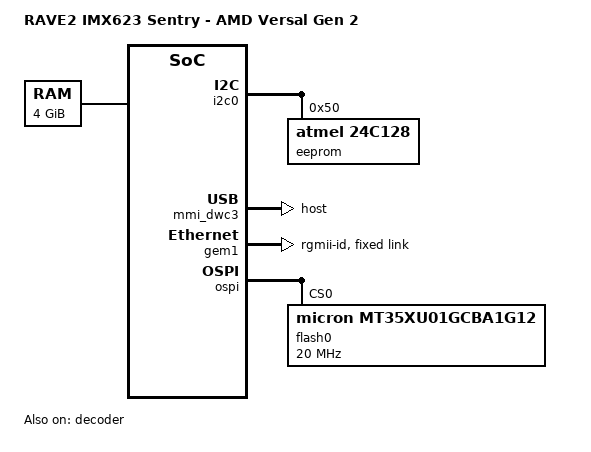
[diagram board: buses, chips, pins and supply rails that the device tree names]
// Copyright © Advanced Micro Devices, Inc., or its affiliates. All rights reserved.
// Copyright (C) 2015-2024 Texas Instruments Incorporated - https://www.ti.com/
// Modifications Copyright(C) 2026 Advanced Micro Devices, Inc. All rights reserved.
// SPDX-License-Identifier: MIT AND BSD-2-Clause
// Contributors: LT
// Maintainer: LT
// DP83867 constants copied from Linux include/dt-bindings/net/ti-dp83867.h
// (GPL-2.0-only OR MIT); MIT selected. GPIO_ACTIVE_LOW copied from
// include/dt-bindings/gpio/gpio.h (GPL-2.0 OR BSD-2-Clause); BSD-2-Clause selected.
#define DP83867_RGMIIDCTL_250_PS        0x0
#define DP83867_RGMIIDCTL_500_PS        0x1
#define DP83867_RGMIIDCTL_750_PS        0x2
#define DP83867_RGMIIDCTL_1_NS          0x3
#define DP83867_RGMIIDCTL_1_25_NS       0x4
#define DP83867_RGMIIDCTL_1_50_NS       0x5
#define DP83867_RGMIIDCTL_1_75_NS       0x6
#define DP83867_RGMIIDCTL_2_00_NS       0x7
#define DP83867_RGMIIDCTL_2_25_NS       0x8
#define DP83867_RGMIIDCTL_2_50_NS       0x9
#define DP83867_RGMIIDCTL_2_75_NS       0xa
#define DP83867_RGMIIDCTL_3_00_NS       0xb
#define DP83867_RGMIIDCTL_3_25_NS       0xc
#define DP83867_RGMIIDCTL_3_50_NS       0xd
#define DP83867_RGMIIDCTL_3_75_NS       0xe
#define DP83867_RGMIIDCTL_4_00_NS       0xf

#define   DP83867_PHYCR_FIFO_DEPTH_4_B_NIB  0x01
#define   GPIO_ACTIVE_LOW 1



/ {
        model = "RAVE2 IMX623 Sentry - AMD Versal Gen 2";
		compatible = "amd,versal2";
		chosen {
			stdout-path = "serial0:115200n8";
			/* irqaffinity keeps GIC SPI 206/207 off Linux: the R52 AIE-manager
			 * firmware registers them as its AIE NPI error/user interrupts
			 * (CONFIG_AIE2PS_NPI_IRQ_ENABLE=y). Verified on HW 2026-08-28:
			 * "AIE2PS GIC NPI IRQs registered: SPI 206 (err), SPI 207 (usr)". */
			/*
			 * CMA SIZING RULE -- the default CMA area is carved out of LOW DDR by the
			 * `cma=` value below (this board cannot use linux,cma-default: the DT pool
			 * must stay at 0x800000000 for ald3xx.fw, and setting both makes
			 * rmem_cma_setup() bypass the DT node -> ZERO CMA).
			 *
			 * So cma= must fit the largest remaining contiguous low-DDR hole.  Add a
			 * big low-DDR no-map carveout and you MUST shrink cma= to match, else:
			 *     cma: Failed to reserve N MiB
			 *     [drm] Failed to initialize the cma mem reserved nodes
			 *     modetest: failed to create dumb buffer: Cannot allocate memory
			 *
			 * rave2-imx623 hit exactly this: aie_remap_shadow@40000000 (256 MB) took
			 * the hole the comment below calls "~0x40000000", leaving 128 MB as the
			 * largest, so cma= dropped 256M -> 96M there.  1920x1080 XR24 dumb buffers
			 * are 8 MB each, so 96 MB is ample.
			 * Check free holes with `lmb_dump_all` (U-Boot `bdinfo`) after any change.
			 */
			bootargs = "earlycon=pl011,mmio32,0xf1920000 console=ttyAMA0,115200 cma=96M iomem=relaxed irqaffinity=0-205,208-255";
			xen_bootargs = "console=dtuart dtuart=serial0 dom0_mem=2500M dom0_max_vcpus=1 bootscrub=0 vwfi=native";
			dom0_bootargs = "console=hvc0 earlycon=xen earlyprintk=xen clk_ignore_unused cma=96M";
		};
		/*
		* Device tree reserved-memory fragment for ERICA-E face motion system.
		*
		* Memory layout (both RAVE2 and VEK385):
		*
		*   0x50000000 - 0x5007FFFF  (512 KB)   R52 firmware code/data
		*   0x50100000 - 0x6FCFFFFF  (508 MB)   Visualization capture circular buffers
		*     CH0: 0x50100000 - 0x57FFFFFF      (127 MB, 96 frames x 1.32 MB NV12)
		*     CH1: 0x58000000 - 0x5FEFFFFF      (127 MB)
		*     CH2: 0x5FF00000 - 0x67DFFFFF      (127 MB)
		*     CH3: 0x67E00000 - 0x6FCFFFFF      (127 MB)
		*   0x70000000 - 0x700FFFFF  (1 MB)     sentry_shared: A78 <-> R52 headers
		*     ISP flag:      0x70000000         (one word; the rest of the 64 KB is free)
		*     Wake rings:    0x70010000         (64 KB, R52 Ethernet wake channel)
		*     Settings:      0x70020000         (sentry_cfg, VCTL, DETQ, reserved: 4 KB each)
		*     free:          0x70024000         (48 KB)
		*     Codec header:  0x70038000         (codec_shared_header_t, "CDEC")
		*     Shared header: 0x70030000         (4 KB, capture_shared_header_t)
		*     YOLO results:  0x70040000         (4 KB, yolo_shared_header_t, A78->R52)
		*   0x70400000 - 0x773FFFFF  (112 MB)   NPU CMA pool (all xdna-driver BOs)
		*   0x77400000 - 0x77FFFFFF  (12 MB)    Ping-pong alternate DMA buffer
		*
		* NOTE: U-Boot scriptaddr is at 0x78000000 (common default).
		* Pingpong region ends at 0x77FFFFFF to avoid overlap.
		* If U-Boot loads images at 0x54000000 (default image_addr), this
		* overlaps the capture region. Update U-Boot env, e.g.:
		*   setenv image_addr 0x18000000
		*   setenv kernel_addr 0x18000000
		*
		* Include this file from the top-level device tree:
		*   /include/ "device_tree_reserved_memory.dtsi"
		*/
		reserved-memory {
			#address-cells = <0x2>;
			#size-cells = <0x2>;
			ranges;

			/delete-node/ cma_reserved@800000000;
			// Used to reserve memory for VCU
			/*
			 * 2026-04-28 DEBUG BUILD: shrunk CMA pool to match the
			 * reduced-DDR Vivado config (rave2_reduced_ddr.tcl which
			 * dropped C1/C2/C3 LPDDR5X controllers, leaving only
			 * NoC_C0_C1 with 2GB @ 0x0 + 2GB @ 0x800000000 = 4GB total).
			 *
			 * The original 3GB (0xC0000000) reservation at 0x800000000
			 * extended past the end of physical DRAM (only 2GB now lives
			 * in the high bank), causing cma_init_reserved_areas() to
			 * walk into an unmapped vmemmap region and panic with a
			 * level-2 translation fault on first boot.
			 *
			 * Shrunk to 1GB to fit comfortably inside the 2GB high bank
			 * and leave room for kernel allocations there. Revert to the
			 * original 3GB/0xC0000000 size when the full 4-controller
			 * DDR config is restored.
			 *
			 * ORIGINAL (full-DDR config, restore later):
			 *   reg = <0x8 0x0 0x0 0xC0000000>;   // 3 GB CMA
			 */
			shared_dma_reserved: shared_dma_mem_region {
				compatible = "shared-dma-pool";
				reg = <0x8 0x0 0x0 0x2c000000>;   /* 704 MB CMA (VCU/ALD3); ends at 0x82c000000 where codec_preroll begins */
				//linux,cma-default;
				reusable;
			};

			/*
			 * 2026-04-28 DEBUG BUILD: override the auto-generated
			 * memory@00000000 node to advertise only the DRAM that the
			 * reduced-DDR BD actually provisions. Without this, the
			 * SDT-emitted node still claims 14GB at 0x800000000 (the
			 * old 4-controller layout) and the kernel touches PFNs that
			 * have no backing struct page.
			 *
			 * ORIGINAL auto-generated reg (full-DDR config, restore later):
			 *   reg = <0x0 0x00000000 0x0 0x80000000     // 2 GB low
			 *          0x8 0x00000000 0x3 0x80000000>;   // 14 GB high
			 */

			/*
			* R52 baremetal firmware region.
			* The R52 linker script places code/data starting at 0x50000000.
			* Marked no-map so Linux does not touch this memory.
			*/
			r52_firmware: r52_fw@50000000 {
				reg = <0x0 0x50000000 0x0 0x00080000>;  /* 512 KB */
				no-map;
			};

			/*
			* NoC remap shadow -- this is NOT usable memory.
			*
			* bd.tcl sets CONFIG.REMAPS {M02_AXI {{0x0_4000_0000
			* 0x0200_0000_0000 0x10000000}}} on axi_noc2_0/S08_AXI, which is
			* ps_wizard_0/LPD_AXI_NOC0 -- the NoC port shared by EVERY LPD
			* master, not just the R52s.  So for gem1, USB, ADMA and the R52s,
			* physical 0x40000000..0x4FFFFFFF no longer reaches DDR at all; it
			* is redirected into the AIE array at 0x200_0000_0000.
			*
			* The A78 is NOT affected (the FPD ports S00-S07 carry no remap),
			* so the CPU still sees real DRAM here.  That asymmetry is what
			* makes this dangerous: a DMA buffer the kernel hands to gem1 in
			* this range is written by the CPU into DDR and fetched by the MAC
			* out of the AIE.  The link looks up and passes no traffic.
			*
			* MUST stay in sync with the bd.tcl REMAPS window (base AND size)
			* if the AIE aperture is ever moved or resized.
			*/
			aie_remap_shadow: aie_remap_shadow@40000000 {
				reg = <0x0 0x40000000 0x0 0x10000000>;  /* 256 MB */
				no-map;
			};

			/*
			* NO isp_chain6 carveout on this board -- deliberately.
			*
			* vek385-imx623 has one (isp_chain6@62200000).  Under RPU-master
			* the R52 replays a recorded APU-master bring-up stream, and
			* SETUP_BUFFER_POOL (cmd 33) for chain 6 carries the *Linux CMA*
			* addresses that were live at capture time.  On vek385 those are
			* 0x62200000-0x67137FFF, inside that board's cma=256M arena, so
			* the ISP wrote NV12 frames over DRM framebuffers; reserving the
			* range fixed a rolling display speckle there (confirmed on
			* hardware 2026-09-08).
			*
			* isp_cmds-rave2.bin has the same defect at DIFFERENT addresses:
			*
			*   inst 0  4 x 0x438000  0x40200000-0x41537FFF
			*   inst 1  4 x 0x438000  0x41600000-0x42937FFF
			*   inst 2  4 x 0x438000  0x42A00000-0x43D37FFF
			*   inst 3  4 x 0x438000  0x43E00000-0x45137FFF
			*
			* -- i.e. entirely inside aie_remap_shadow above.  That recording
			* was captured before this board had that carveout, when CMA still
			* sat at 0x40000000.  Reserving the range as an ISP pool would be
			* worse than useless: it would collide with the AIE alias, and
			* replaying the stream verbatim aims 16 NV12 frames' worth of ISP
			* DMA writes into the AIE array.
			*
			* The fix here is to re-record the stream on a board that has
			* aie_remap_shadow (scripts/capture_isp_cmds.sh).  A firmware-side
			* retarget into limo_buf does not fit either: rave2's chain 0 uses
			* 4 buffers per instance (vek385 uses 1), so chain 0 + chain 6 need
			* 35.4 MB and a limo_buf slot is 32 MB.
			*/

			/*
			* Coded pre-roll ring, written by the VCU2 encoder itself.
			* bd.tcl gives vcu2_0/EncData_C0 the DDR_CH0_MED segment
			* (0x800000000 + 2 GB), so the encoder DMAs H.264 straight in here
			* and nothing is copied; the R52 is deliberately excluded from that
			* segment and never touches the bitstream, only the A78 reads it.
			*
			* 4 channels x 160 MB.  The encoder takes one stream buffer per
			* access unit, so the ring is a grid of 256 KB slots: 640 slots
			* per channel ~= 21 s at 30 fps.  A 256 KB slot fits every frame
			* because tRCParam.pMaxPictureSize caps the coded picture --
			* measured max 232 KB over 1208 AUs, against 519 KB uncapped.
			* Ends at 0x854000000, leaving 0x854000000..0x880000000 (704 MB)
			* of the high bank to Linux.
			*
			* WAS 1.3 GB (0x54000000) for the axi4s_video_compress SLW1 ring
			* (4 x CODEC_RING_PER_CH = 336 MB, 268 x 1.25 MB slots, ~8.9 s/ch).
			* H.264 is ~5x denser per second of pre-roll, so it buys 21 s in
			* half the memory.  Reviving SLW1 alongside this needs
			* CODEC_RING_BASE / CODEC_RING_PER_CH in app/R52/src/codec_dma.h
			* re-pointed at a region of its own -- it would overflow this one.
			*/
			/*
			 * Split by the encoder's channel plan (ERICA-E_rpu_vcu_sw vcu2_plan.h); the
			 * node itself is the same for every plan.
			 *   four camera channels only:  4 x 160 MB rings, 256 KB slots
			 *   plans with lower rungs:     +0x00000000  4 x 128 MB camera rings, 256 KB slots
			 *                               +0x20000000  4 x 16 MB lower-rung rings, 64 KB slots
			 *                               +0x24000000  64 MB source slots of the frames the
			 *                                            A78 composes (A78 writes, VCU2 reads)
			 */
			codec_preroll: codec_preroll@82c000000 {
				reg = <0x8 0x2c000000 0x0 0x28000000>;  /* 640 MB @ 0x82c000000: VCU2 coded access units */
				no-map;
			};

			/*
			* ISP LIMO output staging (NV12 1920x1536 per VC, 4 channels).
			* Producer: visp / IspBridge (memcpy or DMABUF).  Consumer: the
			* codec-input axi4s_vid_dma_rd @ b0004..b0007 and the R52
			* (platform.h CAPTURE_BUF_BASE).  4 ch x 0x02000000 (32 MiB):
			*   vc0=0x28000000 vc1=0x2a000000 vc2=0x2c000000 vc3=0x2e000000.
			* Reserved no-map so /dev/mem works under STRICT_DEVMEM and
			* vb2_get_userptr (VM_PFNMAP) succeeds.  Base MIRRORED in ERICA-E
			* (board_config.h, isp_bridge.h, main.cpp, R52 platform.h,
			* configure_{vid_dma_rd,frmbuf}_isp.sh) -- keep in sync.
			*/
			limo_buffers: limo_buf@28000000 {
				reg = <0x0 0x28000000 0x0 0x08000000>;  /* 128 MB */
				no-map;
			};

			/*
			* A78 <-> R52 shared headers.
			*
			* Every occupant is a FIXED ABSOLUTE address compiled into both sides
			* (capture_shared.h, codec_shared.h, yolo_shared.h, power_shared.h), so the
			* base and size of this node must not move.
			*
			*   0x70000000 : ISP master flag word; the rest of the 64 KB is free
			*   0x70010000 : R52 Ethernet wake channel rings and buffers (64 KB)
			*   0x70020000 : sentry_cfg detection settings page   A78 <-> R52
			*   0x70021000 : VCTL encoder runtime control page    A78 <-> R52
			*   0x70022000 : DETQ per-camera detection edges      R52  -> A78
			*   0x70023000 : reserved for a cross-core wake mailbox
			*   0x70024000 : free
			*   0x70030000 : capture_shared_header_t  "CAPT"  R52  -> A78
			*   0x70038000 : codec_shared_header_t    "CDEC"  R52 <-> A78
			*   0x70040000 : yolo_shared_header_t     "YOLO"  R52  -> A78 (seqlock)
			*   0x70048000 : free           (was the NPU ping-pong flag)
			*   0x70050000 : power_shared_header_t    "PWRS"  A78 <-> R52
			*   0x70050800 : PWRX power extension block           A78 <-> R52
			*   0x70070000 : sentry status words
			*   0x70080000 : ISP command staging, scripts/stage_isp_cmds.py (spare tail)
			*
			* Total: 1 MB covers 0x70000000 - 0x700FFFFF.
			*
			* Was named finn_buffer/finn_buf until 2026-08-31.  No sentry BD has a FINN
			* subsystem any more (no post_proc/DMA36/DMA40 cell in any of the four
			* bd.tcl), so the old name described hardware that no longer exists.
			*/
			sentry_shared: sentry_shared@70000000 {
				reg = <0x0 0x70000000 0x0 0x00100000>;  /* 1 MB */
				no-map;
			};

			/*
			* RPU-owned NPU image.  The R52 sentry app stages the pre-built HSA image
			* here (queue, completion words, control code, weights, input tensor and the
			* four classifier output heads) and drives the AIE manager over shmem+IPI.
			* Offsets within the region are fixed -- see ERICA-E app/R52/src/npu_image.h.
			*
			* WAS a `shared-dma-pool` bound to telluride_drm so the amdxdna driver could
			* allocate the model's BOs.  It MUST be no-map now: a reusable pool lets
			* Linux hand out pages the NPU is mid-inference on.  telluride_drm is
			* disabled below for the same reason.
			*
			* All four sentry targets use this base.  The bring-up base 0x28000000 is
			* limo_buf (ISP NV12 staging) on the imx623 BDs, so it cannot be shared.
			*
			* 112 MB against ~61 MB needed by the 4-head YOLOv8n classifier; the top is
			* constrained by U-Boot scriptaddr at 0x78000000.
			*/
			npu_buffers: npu_pool@70400000 {
				reg = <0x0 0x70400000 0x0 0x07000000>;  /* 112 MB, 4MB-aligned for CMA */
				no-map;
			};

			/*
			* Ping-pong double-buffer for DMA/NPU decoupling.
			* erica_vid_dma writes alternate frames here while NPU
			* reads from the primary input BO in npu_pool.
			* Also used as format-17 NCHW scratch when ping-pong
			* is not active (both are never used simultaneously).
			*
			* DDR flag at 0x70048000 (within sentry_shared) tracks
			* which buffer was last written: 0=A ready, 1=B ready.
			*/
			pingpong_buffer: pingpong_buf@77400000 {
				reg = <0x0 0x77400000 0x0 0x00C00000>;  /* 12 MB */
				no-map;
			};
		};

		/*
		 * 2026-04-28 DEBUG BUILD: override the auto-generated
		 * memory@00000000 node to advertise only the DRAM that the
		 * reduced-DDR BD (rave2_reduced_ddr.tcl) actually provisions.
		 *
		 * The reduced BD only assigns DDR_CH0_LEGACY (2GB @ 0x0) and
		 * DDR_CH0_MED (2GB @ 0x800000000) -- total 4GB. The SDT-emitted
		 * node still claims 14GB at 0x800000000 from the old 4-controller
		 * layout; without this override the kernel walks PFNs that have
		 * no backing struct page and panics in cma_init_reserved_areas().
		 *
		 * ORIGINAL auto-generated reg (full-DDR config, restore later):
		 *   reg = <0x0 0x00000000 0x0 0x80000000      // 2 GB low
		 *          0x8 0x00000000 0x3 0x80000000>;    // 14 GB high
		 */
		memory@00000000 {
			device_type = "memory";
			reg = <0x0 0x00000000 0x0 0x80000000>,    /* 2 GB low  */
			      <0x8 0x00000000 0x0 0x80000000>;    /* 2 GB high */
		};
        aliases {
		spi0 = "/axi/spi@f1010000";
		/* U-Boot (board/xilinx/common) reads the board MAC from nvmem* aliases. */
		nvmem0 = &eeprom;
	};
};

&i2c0 {
        /* i2c0 setup matches rave2-ecp.dtsi */
        #address-cells = <1>;
        #size-cells = <0>;
        eeprom: eeprom@50 {
                compatible = "atmel,24c128";
                bootph-all;
                reg = <0x50>;
        };
};

&gpio0 {
        status = "okay";
};

&mmi_dwc3 {
        dr_mode = "host";
        maximum-speed = "super-speed";
        dma-coherent;
        snps,dis_u2_susphy_quirk;
        snps,dis_u3_susphy_quirk;
        snps,usb3_lpm_capable;
};


&gem1 { /* PMC_MIO_48, LPD_MIO0-11/24/25 */
        phy-mode = "rgmii-id";
        /*
         * fixed-link is deliberate and works: the DP83867 straps come up in
         * the correct RGMII mode, autonegotiates on its own, and the MAC does
         * not need to manage it.
         *
         * The old note here said "MDIO doesnt work from ospi" -- that was a
         * misdiagnosis.  MDIO works fine; the PHY simply straps to address
         * 0xa, not 0.  Reading empty address 0 returns 0xffff, which phylib
         * decodes as the very misleading "master-slave cfg: forced master /
         * status: resolution error".  Verified on HW:
         *   phytool read end0/10/2 -> 0x2000 ; end0/10/3 -> 0xa231
         * If this is ever converted to a real phy-handle, use reg = <0xa>.
         */
        fixed-link {
                pause;
                full-duplex;
                speed = <1000>;
        };
};


&ospi { /* PMC_MIO0-10, MIO12 */
        reset-names = "qspi";
        #address-cells = <1>;
        #size-cells = <0>;

	flash0: flash@0 {
		compatible = "micron,mt35xu01gcba1g12", "micron,mt35xu01g", "jedec,spi-nor";
		reg = <0>;
		spi-tx-bus-width = <8>;
		spi-rx-bus-width = <8>;
		spi-max-frequency = <20000000>;
		no-wp;
		spi-nor,octal-dtr-enable;
		boot,primary;
	};
};

&mmi_10gbe {
        status = "disabled";
};

&amba_pl {
	telluride_drm {
		compatible = "xlnx,aiarm";
		status = "disabled";
	};
        // Using a flexible dummy sensor driver for CSI-2 connection
        vid_capture_dummy_src_0: dummy_src_0@0 {
                compatible = "xlnx,dummy_src";
                clock-names = "ap_clk";
                clocks = <&misc_clk_2>;
                xlnx,max-height = <2160>;
                xlnx,max-width = <8192>;
                xlnx,ppc = <4>;
                xlnx,s-axi-ctrl-addr-width = <8>;
                xlnx,s-axi-ctrl-data-width = <32>;
                ports {
                        #address-cells = <1>;
                        #size-cells = <0>;
                        port@0 {
                                reg = <0>;
                                xlnx,video-format = <0>;
                                xlnx,video-width = <8>;
                                dummy_src0_out: endpoint {
                                        /* remote-endpoint = <&csiss0_in>; -- CSI/MIPI disabled: hard ISP owns the sensor */
                                };
                        };
                };
	};
};

// ================================================================
// SENTRY ISP capture pipeline  (matches vek385-imx623-sentry)
//
// The rave2 sentry_imx623 block design
// (hw/tcl/sentry_imx623/rave2/bd.tcl) instantiates the SAME
// ISP + sentry topology as vek385-imx623-sentry:
//
//   vcap/visp_ss_0                    hard ISP (visp_ss_00/01),
//                                     LIMO mode -> writes NV12 to DDR
//   sentry/vid_pre_proces/vcN/        per-VC (4x):
//       axi4s_vid_dma_0               inf  WR DMA  (b0000..b0003)
//       axi4s_vid_dma_1               viz  WR DMA  (b0008..b000b)
//       axi4s_vid_dma_rd              READ-mode broadcaster source
//                                     (b0004..b0007), replaces v_frmbuf_rd
//   sentry/finn_subsystem/            axi4s_vid_dma_rd (FINN feeder,
//                                     b000c) + post_proc_36/40_dma
//
// Differences vs vek385-imx623 that the rave2 SDT reflects:
//   * NO v_frmbuf_rd            -> RD-mode axi4s_vid_dma is the source
//   * NO DT-visible broadcaster -> axis_broadcaster has no AXI-Lite
//                                  ctrl port, so gen-machineconf emits
//                                  no node (nothing to override)
//   * ONE MIPI CSI-2 RX only    -> vcap_hier_mipi_0 (disabled below)
//   * visp_mbox_rpu_6 only       -> single mailbox RPU
// ================================================================

// ----------------------------------------------------------------
// MIPI CSI-2 RX input -- single MIPI, like rave2-ecp.
//
// The hard ISP (visp_ss) drives the IMX623 sensor through its own
// RPU firmware (libsensor over PS I2C0), so the PL-side CSI-2 RX
// subsystem is inert. Disable it so Linux does not bring up an
// unconnected capture subdev (matches rave2-ecp.dtsi). Also drop the
// SDT-generated port@1 -> visp_ss remote-endpoint so the OF-graph
// has no dangling link once we collapse the visp_ss fan-out
// endpoints below.
// ----------------------------------------------------------------
&vcap_hier_mipi_0_mipi_csi2_rx_subsyst_0 {
	status = "disabled";
	ports { port@1 { endpoint { /delete-property/ remote-endpoint; }; }; };
};

// ----------------------------------------------------------------
// WRITE-mode DMAs -- inf (b0000..b0003) + viz (b0008..b000b).
//
// Retag every axi4s_vid_dma with the erica driver compatible (the
// bare xlnx,axi4s-vid-dma-1.0 compat has no kernel driver) and hold
// them disabled at boot. The runtime DT overlay
// (/lib/firmware/erica-vid-dma.dtbo) flips them to "okay" right
// before run_display_sentry.sh launches, then unloads on exit.
// ----------------------------------------------------------------
&sentry_vid_pre_proces_vc0_axi4s_vid_dma_0 {
	compatible = "sentry,erica-vid-dma", "xlnx,axi4s-vid-dma-1.0";
	status = "disabled";
};
&sentry_vid_pre_proces_vc1_axi4s_vid_dma_0 {
	compatible = "sentry,erica-vid-dma", "xlnx,axi4s-vid-dma-1.0";
	status = "disabled";
};
&sentry_vid_pre_proces_vc2_axi4s_vid_dma_0 {
	compatible = "sentry,erica-vid-dma", "xlnx,axi4s-vid-dma-1.0";
	status = "disabled";
};
&sentry_vid_pre_proces_vc3_axi4s_vid_dma_0 {
	compatible = "sentry,erica-vid-dma", "xlnx,axi4s-vid-dma-1.0";
	status = "disabled";
};

// Viz DMAs (b0008..b000b) removed by the codec BD rebuild: the four
// sentry_vid_pre_proces_vcN_axi4s_vid_dma_1 nodes are now the single
// axi4s_video_compress@b0008000 (see cortexa78-linux.dts).  The codec is
// driven by the R52 in polled mode via /dev/mem, so it needs no Linux
// status/IRQ override here.

// ----------------------------------------------------------------
// READ-mode broadcaster-source DMAs (b0004..b0007) + FINN feeder
// (b000c). Configured with sentry,read-source in the shared include
// (staged by device-tree.bbappend SYSTEM_USER_DTSI_EXTRA).
// ----------------------------------------------------------------
/include/ "rave2-imx623-sentry-vid-dma-rd.dtsi"

// ----------------------------------------------------------------
// Hard ISP (visp_ss) + mailbox -- matches vek385-imx623-sentry.
//
// Each visp_ss probe needs a memory-region pointing at its per-RPU
// calibration reserved-memory; visp_mbox_rpu_6 needs the shared
// isp_mbox_buffer. The visp_ss IP was built with 1080p max-height,
// so override iba*_max-height to 0x600 (1536) to accept 1920x1536.
// Collapse the multi-endpoint input ports (port@5 / port@15) that
// the visp async notifier cannot handle.
//
// Tile/ISP -> RPU mapping:  visp_ss_00 -> RPU6 ; visp_ss_01 -> RPU8.
// ----------------------------------------------------------------
// rproc phandle -> the RPU6 core node rpu6_core (r52f@0), NOT the r52fss cluster
// (the xlnx,isp-mbox find_rproc_child resolves via the node backing the rproc
// device, remoteproc1/device -> ebb80000.r52f = r52f@0).
&visp_mbox_rpu_6 { memory-region = <&isp_mbox_buffer>; rproc = <&rpu6_core>; };

&visp_ss_00 {
	memory-region = <&rproc_D_0_6_calib_load>;
	xlnx,name = "visp_ss_00";

	xlnx,iba0_max-width  = <0x780>;    // 1920
	xlnx,iba0_max-height = <0x600>;    // 1536
	xlnx,iba1_max-width  = <0x780>;
	xlnx,iba1_max-height = <0x600>;
	xlnx,iba2_max-width  = <0x780>;
	xlnx,iba2_max-height = <0x600>;
	xlnx,iba3_max-width  = <0x780>;
	xlnx,iba3_max-height = <0x600>;

	ports {
		port@5  { /delete-node/ endpoint@1; };
		port@15 { /delete-node/ endpoint@1; };
	};
};
&visp_ss_01 {
	memory-region = <&rproc_E_0_8_calib_load>;
	xlnx,name = "visp_ss_01";
	xlnx,rpu = <0x8>;
};

// ----------------------------------------------------------------
// AXI INTC -- force ALL inputs to LEVEL trigger (wobble fix,
// matches vek385-imx623-sentry). The SDT emits an edge-triggered
// kind-of-intr that loses DMA edges under NoC back-pressure.
// ----------------------------------------------------------------
&axi_intc_0 {
	xlnx,kind-of-intr = <0x00>;
};

// ----------------------------------------------------------------
// IRQ-input overrides (values from vek385-imx623-sentry, whose
// sentry_vid_pre_proces hierarchy is identical). The 2nd cell is
// forced to 0x4 (level) to match the kind-of-intr override above.
//
// TODO(hw): confirm the ilconcat/axi_intc input wiring in the rave2
// sentry_imx623 bd.tcl matches vek385. If the rave2 BD routes the
// viz/rd cross-bar differently, adjust the swapped values below.
//
//   inf DMAs (b0000..b0003): In2..In5      straight vc0..3
//   viz DMAs (b0008..b000b): In9,10,12,11  vc2/vc3 swapped
//   rd  DMAs (b0004..b0007): In17,20,18,19 vc1/2/3 rotated
//   finn rd  (b000c)        : In21
// ----------------------------------------------------------------
&sentry_vid_pre_proces_vc0_axi4s_vid_dma_0 { interrupts = <0x2 0x4>; };
&sentry_vid_pre_proces_vc1_axi4s_vid_dma_0 { interrupts = <0x3 0x4>; };
&sentry_vid_pre_proces_vc2_axi4s_vid_dma_0 { interrupts = <0x4 0x4>; };
&sentry_vid_pre_proces_vc3_axi4s_vid_dma_0 { interrupts = <0x5 0x4>; };

// Viz DMAs (b0008..b000b) are now the axi4s_video_compress codec node,
// polled by the R52 -- no Linux IRQ override needed.

&sentry_vid_pre_proces_vc0_axi4s_vid_dma_rd { interrupts = <0x11 0x4>; };
&sentry_vid_pre_proces_vc1_axi4s_vid_dma_rd { interrupts = <0x14 0x4>; };
&sentry_vid_pre_proces_vc2_axi4s_vid_dma_rd { interrupts = <0x12 0x4>; };
&sentry_vid_pre_proces_vc3_axi4s_vid_dma_rd { interrupts = <0x13 0x4>; };


// (CSI-2 RX + axis_switch overlays from the old xylon MIPI-capture
//  design removed: the imx623 SDT has no vcap_pipe2 switch/flat-DMA
//  hierarchy -- capture is handled by the sentry ISP overlay above.)




// ================================================================
// VCU2 codec IRQ FIX (validated on HW 2026-08-14: encoder boots + encodes H.264)
//
// interrupt-controller@b00e0000 (AXI INTC) is #interrupt-cells=2 and level-
// triggered (xlnx,irq-is-level=1). The SDT emits a malformed 3-cell
// interrupts=<hwirq 0x2 0x4> for the Allegro encoder/decoder, so al_riscv fails
// to map the IRQ ("type mismatch, failed to map hwirq-8") and probe aborts
// (-ENXIO) BEFORE booting the MCU. The correct 2-cell level-high form is
// <hwirq 0x04> (hwirq 8 = encoder/In8, 7 = decoder/In7 per the BD xlconcat).
// With this fix the encoder core clock (already up from the PDI) is used,
// ale2xx.fw boots ("MCU0: encoder server started"), and ctrlsw_encoder produced
// a valid H.264 stream on hardware. NOTE: the earlier "slab corruption" blamed
// on these blocks was a misdiagnosis -- with the broken IRQ the MCU never
// booted, so it could not DMA. Do NOT re-disable these to chase slab issues.
// ================================================================
// OWNERSHIP: the R52 VCU controller (sentry-vcu-ctrl.elf, remoteproc below)
// drives the Allegro encoder MCU directly through the NSU at 0xE8040000. Only
// one master may own that MCU. While Linux's al_riscv driver was also bound it
// reset and re-loaded the same MCU underneath the R52, and the R52's FW_READY
// handshake was lost -- MCU boot then failed every retry (stage 0xDB601002).
//
// 2026-09-09: these were "okay", with ownership arbitrated at RUNTIME by
// src/app/scripts/vcu_owner.sh instead of here:
//   run_sentry.sh         -> vcu_owner.sh r52    (unbinds al_riscv, R52 owns)
//   run_display_sentry.sh -> vcu_owner.sh linux  (stops R52, rebinds al_riscv)
// They are now "disabled", matching both vek385 sentry machines, so that all
// four sentry machines behave identically from a VCU/NPU perspective.  The R52
// owns the Allegro MCU on every sentry build; leaving the Linux node enabled
// only creates a second master that has to be unbound at runtime.
//
// TRADE-OFF, deliberately accepted: the A78 can no longer bind al_riscv at all,
// so run_display_sentry.sh's 'r' key (display capture through omxh264enc) and
// `vcu_owner.sh linux` stop working on this machine.  Revert this hunk to
// status = "okay" if that A78-side recording path is needed again.
&encoder {
	/* enc = axi_intc_0 In8, dec = In7 (bd.tcl).  The SDT parents these to &gic,
	 * where the line number lands in the 3-cell "type" slot and probe fails. */
	interrupt-parent = <&axi_intc_0>;
	interrupts = <0x8 0x4>;
	memory-region = <&shared_dma_reserved>;
	status = "disabled";
};
// The DECODER is enabled while the encoder above stays disabled. Only the
// encoder MCU is contended: the R52 VCU controller drives it through the NSU
// and one master must own it. The decoder is a separate block -- ald3xx at
// 0xE8080000, compatible "al,ald3xx", its own mcu-clk, no shared reset or
// power-domain -- that the R52 never touches.
//
// It is enabled because the A78 deterrent player decodes H.264 through
// GStreamer omxh264dec, which opens /dev/al_d3xx. That node comes from THIS
// block (al,devicename = "al_d3xx"); the encoder's is "al_e2xx". With the
// decoder disabled omxh264dec fails with "Failed to create context" and the
// player silently falls back to software decode, which is the dominant CPU
// cost of running deterrent mode.
&decoder {
	interrupt-parent = <&axi_intc_0>;
	interrupts = <0x7 0x4>;
	memory-region = <&shared_dma_reserved>;
	status = "okay";
};

// AI Engine aperture: fix power-domains phandle (SDT generates wrong reference)
// and override interrupt mapping
&aie_aperture_0 {
	interrupts = <0x00 0xce 0x04 0x00 0xcf 0x04 0x00 0xd0 0x04>;
};


// ================================================================
// RTC calibration.  The SDT emits no `calibration` on the Linux rtc node, so
// zynqmp-rtc leaves CALIB_WRITE at the ROM default 0x10010 = 17 ticks/second
// -> the seconds counter runs at 32768/17 = 1928 Hz instead of 1 Hz, and every
// R52 alarm delay is meaningless.  0x7fff = 32768 ticks = 1 Hz, matching the
// value already present in the cortexr52-1 baremetal view of the same node.
// ================================================================
&rtc {
       calibration = <0x7fff>;
};

// Sentry drives one SST stream; the driver treats any xlnx,mst-mode-en value, <0> included, as MST enabled, so the property must be absent.
&mmi_dptx {
	/delete-property/ xlnx,mst-mode-en;
};


// NPU MIGRATION / BOOT-CRASH FIX: disable the A78-direct AIE stack.
// The new BD gives the R52 cores AIE access + remaps the AIE NoC aperture, so on
// the A78 the aie aperture is no longer contiguous ("Memory regions are not
// contiguous") and partition 0 is claimed RPU-side ("failed to request partition
// 0: in use"). Both xilinx_aie and amdxdna therefore FAIL to probe, and their
// error/cleanup path corrupts the kernel slab (Oops in __slab_free/__put_partials
// -> kfree_rcu -> RCU stall -> hang). Since AIE is now managed by the R52
// aie-manager firmware (sentry-aie-mgr.elf), the A78 must not bind the AIE at
// all: disable the parent node so neither driver probes. Re-enable only once the
// A78 RPURuntime XRT-over-RPU client replaces amdxdna forever-mode.
&ai_engine_0 {
	status = "disabled";
};


// ================================================================
// IPI wakeup-source — enables suspend-to-RAM wake via R52 doorbell
// Without this, only s2idle (WFI) works, not full S2RAM power-down.
//
// Also add RPU (ipi-id=3) as a mailbox child so the Linux
// zynqmp-ipi-mailbox driver unmasks bit 3 in APU's IPI IMR.
// Without this, RPU doorbell sets APU ISR but the SPI output
// stays low (masked) and GIC Wakeup Controller never fires.
// R52 firmware also unmasks bit 3 directly as belt-and-suspenders.
// ================================================================
&{/zynqmp-ipi} {
	wakeup-source;

	// RPU IPI mailbox — allows R52 doorbell wake from deep suspend
	// Buffer addresses: RPU(ch3)->APU(ch2) request = 0xEB3F0680
	//                   APU(ch2)->RPU(ch3) request = 0xEB3F04C0
	mailbox@eb3f0680 {
		reg = <0x00 0xeb3f04c0 0x00 0x20
		       0x00 0xeb3f04e0 0x00 0x20
		       0x00 0xeb3f0680 0x00 0x20
		       0x00 0xeb3f06a0 0x00 0x20>;
		reg-names = "local_request_region",
			    "local_response_region",
			    "remote_request_region",
			    "remote_response_region";
		#mbox-cells = <0x01>;
		xlnx,ipi-id = <0x03>;
	};
};

// ================================================================
// Remoteproc — R52 baremetal firmware loading via Linux remoteproc
//
// The RAVE2 base cortexa78-linux.dts (from SDT) does NOT include
// a remoteproc node, so we must define the full node here.
//
// Address 0xEBA00000 = R52 core whose ATCM is r52_0a_atcm_global@eba00000
// (SDT cortexr52_1, cpu@1).
// This matches the VEK385 base DTS remoteproc@eba00000 but with
// memory-region pointing to our sentry firmware carveout at 0x50000000.
//
// Power-domain IDs match the Versal Gen 2 silicon (same as VEK385).
// 0xEBA00000 = R52 core 0 (r52_0a; XSDB "Cortex-R52 #0.0") -- the core the
// sentry firmware is linked/loaded to.
//   0x181100bf = R52 core-0 power-domain (owns the r52_0a TCM banks)
//   0x183180cb = PM_DEV_TCM_A_0A (ATCM)
//   0x183180cc = PM_DEV_TCM_A_0B (BTCM)
//   0x183180cd = PM_DEV_TCM_A_0C (CTCM)
// RESOLVED 2026-08-28: an earlier note here claimed "PLM powers but never WAKES
// this core via Linux remoteproc -> fix at BD/PDI". That is NOT true on this
// build. sentry-aie-mgr.elf was loaded on remoteproc0 and ran:
//   remoteproc0: powering up eba00000.r52f
//   remoteproc0: remote processor eba00000.r52f is now up   (state = running)
// No BD/PDI change is needed to load this core.
// (0x181100c0 is the SIBLING core 1 -- do NOT use it.)
//
// Usage from Linux:
//   cp sentry_r52.elf /lib/firmware/
//   echo sentry_r52.elf > /sys/class/remoteproc/remoteproc0/firmware
//   echo start > /sys/class/remoteproc/remoteproc0/state
// ================================================================
/ {
	/* TCM reserved-memory for R52 core 0 (remoteproc driver needs these) */
	reserved-memory {
		#address-cells = <0x2>;
		#size-cells = <0x2>;
		ranges;

		tcm_r52_0: r52_0_tcm@eba00000 {
			no-map;
			reg = <0x00 0xeba00000 0x00 0x30000>;  /* 192KB: ATCM+BTCM+CTCM */
		};
	};

	remoteproc@eba00000 {
		compatible = "xlnx,versal-net-r52fss";
		#address-cells = <0x02>;
		#size-cells = <0x02>;
		xlnx,cluster-mode = <0x00>;
		ranges = <0x00 0x00 0x00 0xeba00000 0x00 0x10000
			  0x00 0x10000 0x00 0xeba10000 0x00 0x8000
			  0x00 0x18000 0x00 0xeba20000 0x00 0x8000>;

		r52f@0 {
			compatible = "xlnx,versal2-r52f";
			power-domains = <&versal2_firmware 0x181100bf>,
					<&versal2_firmware 0x183180cb>,
					<&versal2_firmware 0x183180cc>,
					<&versal2_firmware 0x183180cd>;
			reg = <0x00 0x00 0x00 0x10000
			       0x00 0x10000 0x00 0x8000
			       0x00 0x18000 0x00 0x8000>;
			reg-names = "r52_0a_atcm_global@eba00000",
				    "r52_0a_btcm_global@eba10000",
				    "r52_0a_ctcm_global@eba20000";
			/* Two windows so either image can run on this core:
			 *   aie_mgr_fw   -> sentry-aie-mgr.elf (RPU-managed NPU)
			 *   r52_firmware -> sentry_r52*.elf   (legacy baremetal detection)
			 * The RPU-NPU cutover replaces detection on this core, so the two
			 * are mutually exclusive at runtime.
			 * HW-VERIFIED 2026-08-28 with aie_mgr_fw alone; the second entry is
			 * not yet exercised -- if the loader only honours the first phandle,
			 * swap the order to run the legacy detection firmware. */
			memory-region = <&aie_mgr_fw>, <&r52_firmware>;
		};
	};

	/*
	 * ISP RPU6 remoteproc loader (becomes remoteproc1, after the sentry
	 * R52 at eba00000 = remoteproc0).  init_isp_4cam.sh's
	 *   start_rproc remoteproc1 isp-r52-6-firmware.elf
	 * loads the ISP R52 firmware into rpu6_fw@0x0C000000.  Single-ISP0
	 * design -> only RPU6; RPU7 (r52f@1) and the RPU8/9 cluster
	 * (remoteproc@ebc00000) are intentionally absent.
	 *
	 * The 2026.1 sdt_import no longer flattens system-conf.dtsi, so this
	 * node (like the RPU6 reserved-memory) is not emitted by the base DTS;
	 * define it here.  Structure/addresses mirror the eba00000 node above
	 * and rave2-ecp.dtsi.  Requires rpu6_fw (reserved-memory) + the
	 * isp-r52-6-firmware.elf firmware in the rootfs.
	 */
	remoteproc@ebb80000 {
		compatible = "xlnx,versal-net-r52fss";
		#address-cells = <0x02>;
		#size-cells = <0x02>;
		xlnx,cluster-mode = <0x00>;
		ranges = <0x00 0x00 0x00 0xebb80000 0x00 0x10000
			  0x00 0x10000 0x00 0xebb90000 0x00 0x8000
			  0x00 0x18000 0x00 0xebba0000 0x00 0x8000>;

		rpu6_core: r52f@0 {
			compatible = "xlnx,versal2-r52f";
			power-domains = <&versal2_firmware 0x181100f3>,
					<&versal2_firmware 0x18318106>,
					<&versal2_firmware 0x18318107>,
					<&versal2_firmware 0x18318108>;
			reg = <0x00 0x00 0x00 0x10000
			       0x00 0x10000 0x00 0x8000
			       0x00 0x18000 0x00 0x8000>;
			reg-names = "r52_0a_atcm_global@eba00000",
				    "r52_0a_btcm_global@eba10000",
				    "r52_0a_ctcm_global@eba20000";
			memory-region = <&rpu6_fw>;
		};
	};
};

// ================================================================
// NPU MIGRATION — R52_1 VCU (video encoder) controller remoteproc
//
// Second R52 core, loaded by Linux remoteproc with the VCU controller
// Zephyr ELF (sentry-vcu-ctrl.elf).  R52_0 (remoteproc@eba00000 above)
// loads the AIE-manager ELF (replacing sentry_r52.elf) at runtime; this
// R52_1 node drives the hard VCU2 encoder for the pre/post-roll capture.
//
// Firmware is loaded at runtime via sysfs (no firmware-name in DT), exactly
// like remoteproc@eba00000:
//   cp sentry-vcu-ctrl.elf /lib/firmware/
//   echo sentry-vcu-ctrl.elf > /sys/class/remoteproc/remoteprocN/firmware
//   echo start > /sys/class/remoteproc/remoteprocN/state
//
// CORE AND TCMs: this is RPU cluster B core 0 (XSDB "Cortex-R52 #1.0",
// MPIDR 0x100, SMID 0x202).  sentry-vcu-ctrl.elf parks any core whose MPIDR
// is not 0x100.  Xilinx TCM names are r52_<core><cluster>:
//   r52_0a: ATCM eba00000 / BTCM eba10000 / CTCM eba20000  (A0 = remoteproc@eba00000)
//   r52_1a: ATCM eba40000 / BTCM eba50000 / CTCM eba60000  (A1)
//   r52_0b: ATCM eba80000 / BTCM eba90000 / CTCM ebaa0000  (B0 = this node)
//   r52_1b: ATCM ebac0000 / BTCM ebad0000 / CTCM ebae0000  (B1)
// Power-domains (xilpm_ng xpm_nodeid.h):
//   0x181100c1 = PM_DEV_RPU_B_0
//   0x183180d1 = PM_DEV_TCM_B_0A (ATCM)
//   0x183180d2 = PM_DEV_TCM_B_0B (BTCM)
//   0x183180d3 = PM_DEV_TCM_B_0C (CTCM)
// The core and its TCMs must belong to the same RPU: the PLM powers up and
// releases the reset of whichever core owns a requested TCM bank.  Requesting
// another core's TCMs (e.g. TCM_A_1x) brings that core up running from an
// empty TCM; it slides into this firmware at 0x30000 and writes over this
// core's stacks with SMID 0x201.  The firmware does not use its TCMs; the
// driver requires at least one bank per core.
// ================================================================
/ {
	reserved-memory {
		#address-cells = <0x2>;
		#size-cells = <0x2>;
		ranges;

		/* TCM reserved-memory for R52_1 (r52_0b, RPU B0), so the
		 * remoteproc driver reserves the ATCM+BTCM+CTCM MMIO window. */
		tcm_r52_1: r52_1_tcm@eba80000 {
			no-map;
			reg = <0x00 0xeba80000 0x00 0x30000>;  /* 192KB: ATCM+BTCM+CTCM */
		};

		/* DDR firmware carveout for the R52_1 VCU-controller ELF
		 * (sentry-vcu-ctrl.elf). The Zephyr image is linked at 0x30000
		 * (board ddr_firmware default) with a ~2.9 MB footprint, so the
		 * remoteproc carveout MUST cover 0x30000; reserve 4 MB there.
		 * (The old 512 KB @ 0x50080000 was both too small and the wrong
		 * address, so the ELF could never load.) no-map -> Linux never
		 * touches it. remoteproc@eba80000 references this via &r52_1_firmware. */
		r52_1_firmware: r52_1_fw@30000 {
			reg = <0x0 0x00030000 0x0 0x00400000>;  /* 4 MB */
			no-map;
		};

		/* ===== VCU2 hard-codec (R52_1) working memory =====================
		 * All in low DDR because the 32-bit R52 CPU-copies coded AUs into
		 * the pre-roll ring (vcu2_preroll_put -> memcpy). Two free low-DDR
		 * windows are used, both proven DDR for the R52:
		 *   0x30000000..0x3FFFFFFF  (above limo, below the AIE remap @0x40000000)
		 *   0x60100000..0x6FFFFFFF  (above the 256 MB viz-capture, below sentry_shared)
		 * Keep in sync with app.overlay + vcu2_app_example.c. */
		vcu2_fw: vcu2_fw@30000000 {
			reg = <0x0 0x30000000 0x0 0x02000000>;  /* 32 MB: FW image + H2M/M2H mailbox */
			no-map;
		};
		vcu2_cma: vcu2_cma@32000000 {
			reg = <0x0 0x32000000 0x0 0x06800000>;  /* 104 MB: CtrlSW CMA + bitstream out.
						 * Base/size MUST match VCU2_CMA_PHYS/VCU2_CMA_SIZE in
						 * r52-vcu-ctrl/examples/vcu2_app_example.c.  Starts where
						 * vcu2_fw ends (0x32000000) and ends exactly at
						 * vcu2_preroll_shared (0x38800000). */
			no-map;
		};
		/*
		 * Encoder controller <-> A78 structures (ERICA-E_rpu_vcu_sw include/):
		 *   0x38800000  VPRL pre-roll ring header, up to 8 channels  (vcu2_preroll.h)
		 *   0x38820000  submit ring 1, camera frames                 (vcu2_submit.h)
		 *   0x38830000  SDIR source directory, 8 channels x 7 slots
		 *   0x38840000  submit ring 2, frames the A78 composes
		 *   0x38848000  VCHM encoder channel map                     (vcu2_chmap.h)
		 *   0x3884A000  SGEN source-slot generations
		 *   0x38890000  controller debug words
		 * A controller restart clears 0x38820000..0x3889FFFF.
		 */
		vcu2_preroll_shared: vcu2_preroll_shared@38800000 {
			reg = <0x0 0x38800000 0x0 0x00100000>;  /* 1 MB: A78-visible pre-roll ring header */
			no-map;
		};

		/* Reserve the EXISTING R52 detection viz-capture region so Linux
		 * never allocates into it (CAPTURE_DDR_BASE/_SIZE in the R52
		 * capture_dma.h: 0x50100000, 256 MB, CH0+CH1 @127 MB). Previously
		 * unreserved; making it explicit protects both the detection DMA
		 * and the vcu2_preroll_bytes ring that follows it. */
		viz_capture: viz_capture@50100000 {
			reg = <0x0 0x50100000 0x0 0x10000000>;  /* 256 MB: R52 viz capture (detection) */
			no-map;
		};

		/* Encoded pre-roll BYTE rings (H.264/HEVC AUs). 4 x 32 MB = ~12.8 s
		 * @ 20 Mb/s per channel. R52 writes (CPU memcpy), A78 reads. */
		vcu2_preroll_bytes: vcu2_preroll_bytes@60100000 {
			reg = <0x0 0x60100000 0x0 0x08000000>;  /* 128 MB: 4 x 32 MB pre-roll rings */
			no-map;
		};
	};

	remoteproc@eba80000 {
		compatible = "xlnx,versal-net-r52fss";
		#address-cells = <0x02>;
		#size-cells = <0x02>;
		xlnx,cluster-mode = <0x00>;
		ranges = <0x00 0x00 0x00 0xeba80000 0x00 0x10000
			  0x00 0x10000 0x00 0xeba90000 0x00 0x8000
			  0x00 0x18000 0x00 0xebaa0000 0x00 0x8000>;

		r52f@0 {
			compatible = "xlnx,versal2-r52f";
			power-domains = <&versal2_firmware 0x181100c1>,
					<&versal2_firmware 0x183180d1>,
					<&versal2_firmware 0x183180d2>,
					<&versal2_firmware 0x183180d3>;
			reg = <0x00 0x00 0x00 0x10000
			       0x00 0x10000 0x00 0x8000
			       0x00 0x18000 0x00 0x8000>;
			reg-names = "r52_0b_atcm_global@eba80000",
				    "r52_0b_btcm_global@eba90000",
				    "r52_0b_ctcm_global@ebaa0000";
			memory-region = <&r52_1_firmware>, <&r52_firmware>;  /* + the 0x50000000 window: sentry_r52_*.elf links there, sentry-vcu-ctrl.elf at 0x30000 */
		};
	};
};

// ================================================================
// ISP RPU calibration + mailbox reserved-memory
//
// visp_ss_00 / visp_ss_01 / visp_mbox_rpu_6 above reference these
// labels. The 2026.1 sdt_import does not emit them into
// cortexa78-linux.dts, so define them here (no-map; addresses match
// rave2-ecp.dtsi and the vek385 system-conf: rpu6 0xF800000,
// rpu8 0x18854000, isp_mbox 0x1E0A8000 -- all low DDR < 512 MB, so
// no overlap with the sentry carveouts at 0x50000000+).
//
// The full single-RPU6 ISP carveout is now restored below (rpu6
// fw/calib/hal_mem_priv, isp_mbox, rpu_shared, isp_vring, tcm_rpu6),
// addresses verbatim from rave2-ecp.dtsi.  RPU7/8/9 are unused (single
// IMX623 x4 on RPU6); rpu8_calib is the lone RPU8 leftover kept only for
// the &visp_ss_01 override.  All no-map; none overlap CMA or the sentry
// carveouts.
// NOTE(hw): the matching remoteproc@ebb80000 r52f@0 loader (memory-region
// = <&rpu6_fw>) is now defined above (next to remoteproc@eba00000) so
// init_isp_4cam.sh can load isp-r52-6-firmware.elf into RPU6 (remoteproc1),
// as in rave2-ecp.dtsi -- reservations alone only protect DDR.
// ================================================================
/ {
	reserved-memory {
		#address-cells = <0x2>;
		#size-cells = <0x2>;
		ranges;

		rpu6_fw: rproc6@0c000000 {
			no-map;
			reg = <0x0 0xC000000 0x0 0x3800000>;   /* 56 MB RPU6 ISP firmware */
		};
		rproc_D_0_6_calib_load: rpu6_calib_load {
			no-map;
			reg = <0x0 0xF800000 0x0 0x28000>;      /* 160 KB calibration */
		};
		rproc_D_0_6_hal_mem_priv: rpu6_hal_mem_priv {
			no-map;
			reg = <0x0 0xF828000 0x0 0x1001000>;    /* ~16 MB HAL private */
		};
		/*
		 * rpu8_calib_load: leftover from the AMD 2-ISP reference
		 * (RPU8 = ISP1); UNUSED on this single-ISP0 build.  Kept only
		 * because the &visp_ss_01 override still points its
		 * memory-region here.
		 *
		 * RELOCATED 0x18854000 -> 0x10829000: the old address sat only
		 * ~8.7 MB above the kernel load address 0x18000000, so U-Boot's
		 * lmb (built from this DTB's /reserved-memory, used as U-Boot's
		 * control FDT from OSPI) rejected the kernel Image load with
		 * "Reading file would overwrite reserved memory" and left it with
		 * a bad ARM64 magic.  rave2-xylon-sentry has no RPU8 node there
		 * and boots fine.  RPU8 is unused so this address is arbitrary;
		 * park it contiguously after rpu6_hal_mem_priv (ends 0x10829000),
		 * inside the low ISP carveout, so 0x18000000..0x1E0A8000 (~96 MB)
		 * is clear for the kernel Image.  Drop together with the
		 * visp_ss_01 override to fully retire RPU8.
		 */
		rproc_E_0_8_calib_load: rpu8_calib_load {
			no-map;
			reg = <0x0 0x10829000 0x0 0x28000>;
		};
		isp_mbox_buffer: isp_mbox_buffer@1E0A8000 {
			no-map;
			reg = <0x0 0x1E0A8000 0x0 0x400000>;    /* 4 MB RPU6<->A78 mailbox */
		};
		rpu_shared_mem: rpu_shared_mem@1E4A8000 {
			no-map;
			reg = <0x0 0x1E4A8000 0x0 0x40000>;     /* 256 KB RPU shared */
		};
		isp_vring: vring@1FFF7000 {
			no-map;
			reg = <0x0 0x1FFF7000 0x0 0x8000>;      /* 32 KB RPU6 vring */
		};
		tcm_rpu6: rpu6_tcm {
			no-map;
			reg = <0x0 0xEBB80000 0x0 0x30000>;     /* 192 KB RPU6 TCM */
		};
	};
};

// ================================================================
// NPU MIGRATION: A78-direct amdxdna forever-mode -> RPU-managed AIE
//
// Moves AIE management off the A78 (amdxdna forever-mode) and onto an R52
// running the AIE-manager firmware (ported from the telluride rpu_fw
// reference). The A78 becomes a client that submits NPU jobs to the R52 over
// a shared-memory + IPI transport; the R52 owns the AIE via the NoC NMU remap
// added in bd.tcl (R52 addr 0x40000000 -> AIE phys 0x20_0000_0000).
//
// Transport (default RPU fw build: CONFIG_RPUFW_TRANSPORT_SHMEM=y, no OpenAMP),
// from telluride-rpu-docs tools/apu_aie_test/shmem_transport.h:
//   0xBBE00000  32 KB  APU TX ring   (FW RX)
//   0xBBE08000  32 KB  FW  TX ring   (APU RX)
//   0xBBE10000  32 KB  doorbell
//   IPI: APU (IPI5 @ 0xEB380000) writes BIT(3) to doorbell the R52 AIE-mgr;
//        R52 already added as an IPI child of &{/zynqmp-ipi} above (ipi-id=3).
//
// TODO(sdt): 0xBBE00000 is the reference OCM location -- confirm this OCM range
// is free on the rave2 SDT (our DDR is 0-2G low + 0x800000000 high, so this is
// NOT DDR). If OCM is unavailable, relocate the ring region into a no-map DDR
// carveout and set the matching RPU fw shmem base.
// TODO(migration): repoint remoteproc@eba00000 firmware from sentry_r52.elf to
// the AIE-manager ELF once built (rpu_fw for amd_ve2_rpu). The A78 userspace
// moves from the amdxdna forever-mode driver to the RPURuntime XRT-over-RPU
// client (rpu_ipi_trigger.ko for the privileged IPI trigger).
// ================================================================
/ {
	reserved-memory {
		#address-cells = <0x2>;
		#size-cells = <0x2>;
		ranges;

		/* A78 <-> R52 AIE-manager shared-memory rings (no-map: the R52 and
		 * the A78 client map it directly; keep Linux allocators out).
		 * 2 clients x 0x18000: apu0_client @0xBBE00000, apu1_client @0xBBE18000
		 * (shmem_clients_cfg[] in the FW's shmem_platform.c). Each client is
		 * 3 x 32 KB: mgmt-rx, mgmt-tx, doorbell. OCM bank 2 is 0xBBE00000. */
		rpu_aie_shmem: rpu_aie_shmem@bbe00000 {
			no-map;
			reg = <0x0 0xBBE00000 0x0 0x30000>;     /* 192 KB (2 clients) */
		};

		/* AIE-manager firmware window for R52_0 (remoteproc@eba00000).
		 *
		 * The stock telluride rpu_fw links at 0x30000, which collides with
		 * r52_1_fw@30000 (sentry-vcu-ctrl.elf on R52_1) since both cores run
		 * concurrently. Our build relinks the image to 0x800000 via
		 * rpu_fw_sentry/sentry.overlay (&ddr_firmware) and keeps the
		 * reference's stock addresses for everything else, so this one window
		 * covers the lot:
		 *   0x430000  256 KB  dram_log_buf
		 *   0x470000  256 B   rsctbl        <- ELF LOAD segment
		 *   0x478000  288 KB  rpmsg_shmem   (unused, CONFIG_OPENAMP=n)
		 *   0x4C0000  3 MB    host_gem_carveout
		 *   0x800000  4 MB    firmware image <- ELF LOAD segments
		 * Free range: r52_1_fw ends at 0x430000, rproc6 starts at 0x0C000000.
		 *
		 * NOTE the FW also logs an "OCM init" block at 0x3ed40000-0x3ed59000.
		 * That is dead code (ocm_init() only LOG_INFs; ocm_get_base/_size have
		 * no callers), so the range is deliberately NOT reserved.
		 */
		aie_mgr_fw: aie_mgr_fw@430000 {
			no-map;
			reg = <0x0 0x00430000 0x0 0x007D0000>;  /* 7.8 MB, ends 0x00C00000 */
		};
	};
};

// ----------------------------------------------------------------
// Reserve TTC4..TTC7 (timer@f1ea0000..f1ed0000) for the R52 ISP firmware.
//
// The isp-r52-N FreeRTOS firmware uses one of these TTCs as its scheduler
// tick (RPU6 -> ttc4 / 0xf1ea0000).  XTtcPs_CfgInitialize() bails with
// XST_DEVICE_IS_STARTED *without* setting IsReady if the TTC counter is
// already running; the subsequent XTtcPs_SetOptions() then trips
// Xil_AssertVoid(IsReady == XIL_COMPONENT_IS_READY) and the R52 spins
// forever in Xil_Assert -- it never gets past "=====TASKS CREATION DONE=====",
// so visp_mbox INIT_FIRMWARE times out (sync failed, -110).
//
// If Linux's cdns,ttc driver binds these nodes it starts their counters,
// causing exactly that.  The AMD reference (vek385-isp) leaves ttc4..ttc7
// disabled in Linux for this reason -- match it so the R52 owns them.
// ----------------------------------------------------------------
&ttc4 { status = "disabled"; };
&ttc5 { status = "disabled"; };
&ttc6 { status = "disabled"; };
&ttc7 { status = "disabled"; };

// ----------------------------------------------------------------
// Disable the LPD ADMA channels -- AIE NoC remap hazard.
//
// The AIE remap in bd.tcl sits on axi_noc2_0/S08_AXI, which is the
// ps_wizard LPD_AXI_NOC0 port -- one NMU shared by EVERY LPD master, not
// just the R52s. ps11_0_lpd_dma_0 (these controllers) is assigned
// DDR_CH0_LEGACY through that same NMU, so any ADMA descriptor pointing
// into the remap window would be silently redirected into the AIE
// aperture instead of DDR.
//
// Nothing consumes them today (the only `dmas =` consumer in the tree is
// the display mmi_dcdma), so this is latent rather than an active bug --
// but the failure mode is silent memory corruption, and the channels are
// free to disable. The A78 is unaffected either way: it egresses via
// FPD_AXI_NOC*, not the LPD NMU.
// ----------------------------------------------------------------
&adma0 { status = "disabled"; };
&adma1 { status = "disabled"; };
&adma2 { status = "disabled"; };
&adma3 { status = "disabled"; };
&adma4 { status = "disabled"; };
&adma5 { status = "disabled"; };
&adma6 { status = "disabled"; };
&adma7 { status = "disabled"; };

// (end of rave2-imx623-sentry.dtsi)
